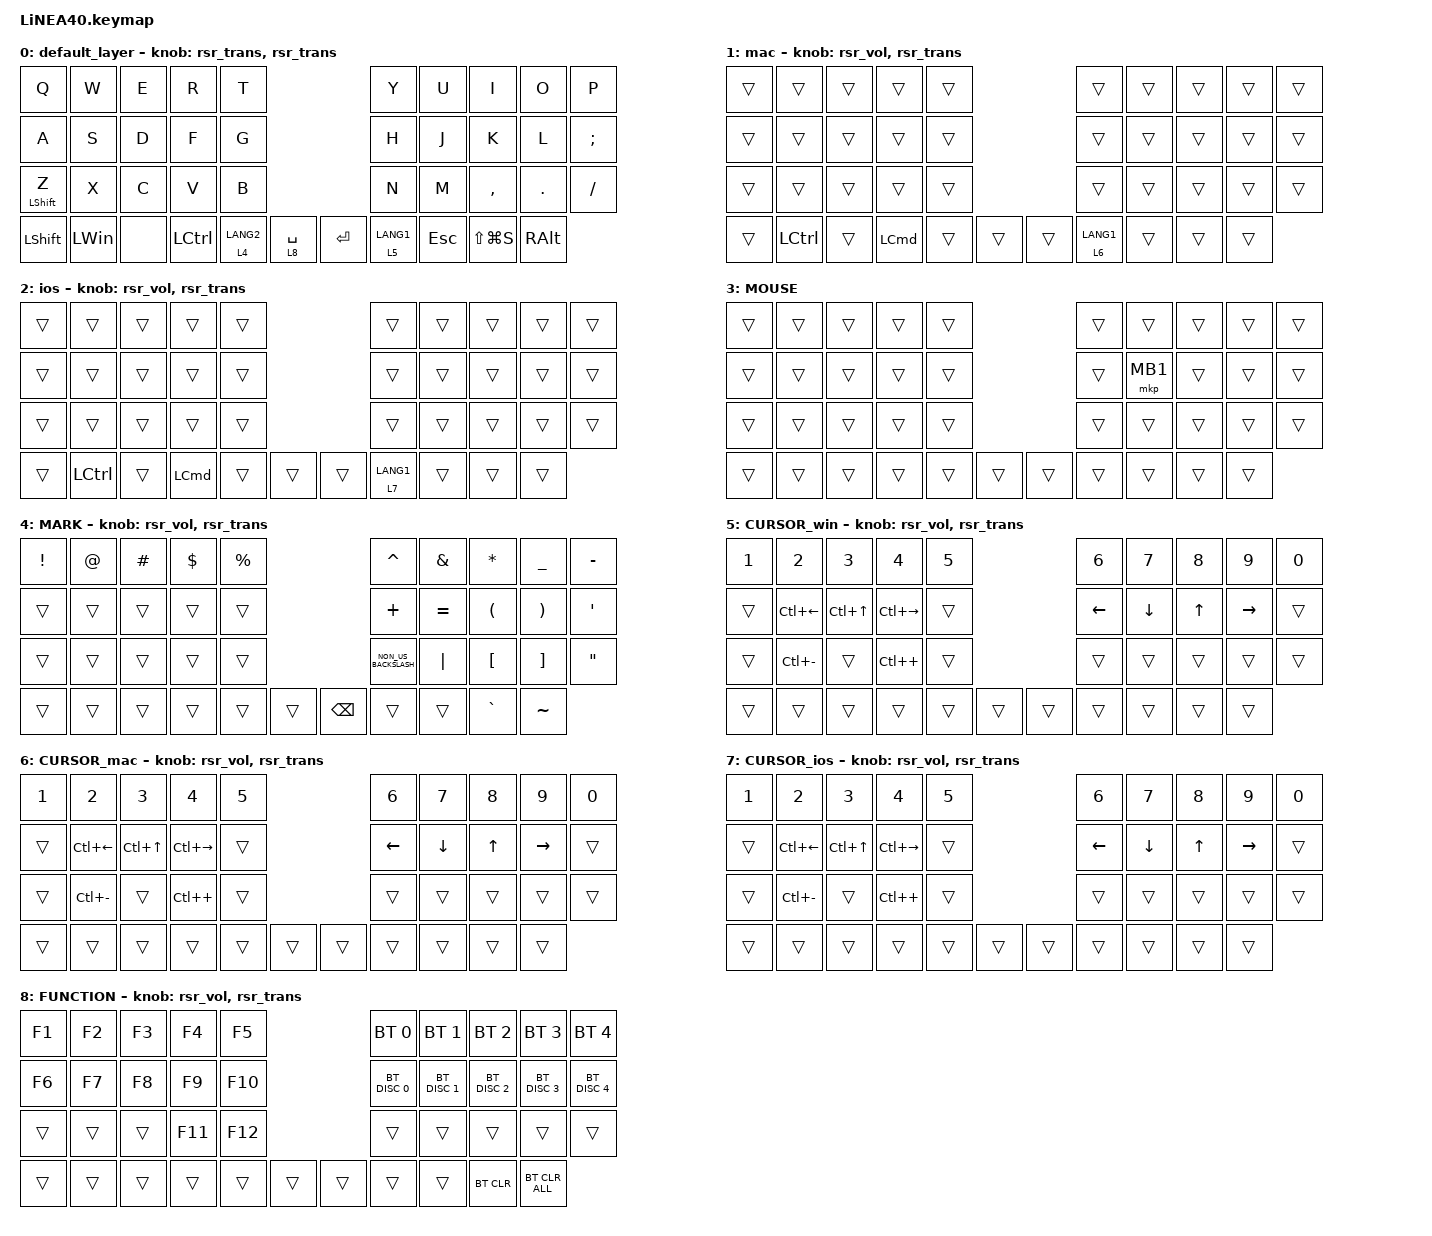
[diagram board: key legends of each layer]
#define ZMK_POINTING_DEFAULT_SCRL_VAL 150

#include <dt-bindings/zmk/input_transform.h>
#include <input/processors.dtsi>
#include <zephyr/dt-bindings/input/input-event-codes.h>
#include <behaviors.dtsi>
#include <dt-bindings/zmk/bt.h>
#include <dt-bindings/zmk/keys.h>
#include <dt-bindings/zmk/pointing.h>
#include <behaviors/runtime-sensor-rotate.dtsi>

#define MOUSE 1
#define MARK 2
#define CURSOR 3
#define FUNCTION 4
#define SCROLL 5
#define WIRELESS 6

//mouse cursol

&mmv {
    delay-ms = <20>;
    trigger-period-ms = <5>;
    time-to-max-speed-ms = <100>;
    acceleration-exponent = <2>;
};

//mouse scroll

&msc {
    delay-ms = <3>;
    trigger-period-ms = <3>;
    time-to-max-speed-ms = <100>;
    acceleration-exponent = <0>;
};

/ {
    input_processors {
        zip_wheel_scaler: zip_wheel_scaler {
            compatible = "zmk,input-processor-scaler";
            #input-processor-cells = <2>;
            type = <INPUT_EV_REL>;
            codes = <INPUT_REL_WHEEL>;
            track-remainders;
        };
    };
};

&msc_input_listener {
    speed_up {
        layers = <FUNCTION>;
        input-processors = <&zip_wheel_scaler 3 1>; //スクロールを3倍速にする
    };
};

&trackball_listener {
    scroller {
        layers = <SCROLL>;
        input-processors =
            <&zip_xy_transform INPUT_TRANSFORM_Y_INVERT>,
            //スクロール方向を逆転,,,,,,,,,,,,,,,
            <&zip_xy_to_scroll_mapper>;
    };
};

/ {
    combos {
        compatible = "zmk,combos";

        tabs {
            bindings = <&kp TAB>;
            key-positions = <0 1>;
        };

        mb1 {
            bindings = <&mkp MB1>;
            key-positions = <17 16>;
        };

        mb2 {
            bindings = <&mkp MB2>;
            key-positions = <18 17>;
        };
    };

    behaviors {
        re_kp: sensor_rotate_kp {
            compatible = "zmk,behavior-sensor-rotate-var";
            #sensor-binding-cells = <2>;
            bindings = <&kp>, <&kp>;
        };

        mouse_scrl: mouse_wheel_scrl {
            compatible = "zmk,behavior-sensor-rotate-var";
            #sensor-binding-cells = <2>;
            bindings = <&msc>, <&msc>;

            tap-ms = <20>;
        };

        // Optionally define default bindings
        rsr_vol: rsr_vol {
            compatible = "zmk,behavior-runtime-sensor-rotate";
            #sensor-binding-cells = <0>;
            tap-ms = <5>;
            cw-binding = <&kp C_VOL_UP>;
            ccw-binding = <&kp C_VOL_DN>;
        };
    };

    keymap {
        compatible = "zmk,keymap";

        default_layer {
            bindings = <
&kp Q             &kp W         &kp E  &kp R      &kp T                                  &kp Y        &kp U  &kp I      &kp O          &kp P
&kp A             &kp S         &kp D  &kp F      &kp G                                  &kp H        &kp J  &kp K      &kp L          &kp SEMICOLON
&mt LEFT_SHIFT Z  &kp X         &kp C  &kp V      &kp B                                  &kp N        &kp M  &kp COMMA  &kp DOT        &kp SLASH
&kp LEFT_SHIFT    &kp LEFT_WIN  &none  &kp LCTRL  &lt 4 LANG2  &lt 8 SPACE    &kp ENTER  &lt 5 LANG1         &kp ESC    &kp LS(LG(S))  &kp RIGHT_ALT
            >;

            sensor-bindings = <&rsr_trans &rsr_trans>;
        };

        mac {
            bindings = <
&trans  &trans     &trans  &trans            &trans                    &trans       &trans  &trans  &trans  &trans
&trans  &trans     &trans  &trans            &trans                    &trans       &trans  &trans  &trans  &trans
&trans  &trans     &trans  &trans            &trans                    &trans       &trans  &trans  &trans  &trans
&trans  &kp LCTRL  &trans  &kp LEFT_COMMAND  &trans  &trans    &trans  &lt 6 LANG1          &trans  &trans  &trans
            >;

            sensor-bindings = <&rsr_vol &rsr_trans>;
        };

        ios {
            bindings = <
&trans  &trans     &trans  &trans            &trans                    &trans       &trans  &trans  &trans  &trans
&trans  &trans     &trans  &trans            &trans                    &trans       &trans  &trans  &trans  &trans
&trans  &trans     &trans  &trans            &trans                    &trans       &trans  &trans  &trans  &trans
&trans  &kp LCTRL  &trans  &kp LEFT_COMMAND  &trans  &trans    &trans  &lt 7 LANG1          &trans  &trans  &trans
            >;

            sensor-bindings = <&rsr_vol &rsr_trans>;
        };

        MOUSE {
            bindings = <
&trans  &trans  &trans  &trans  &trans                    &trans  &trans    &trans  &trans  &trans
&trans  &trans  &trans  &trans  &trans                    &trans  &mkp MB1  &trans  &trans  &trans
&trans  &trans  &trans  &trans  &trans                    &trans  &trans    &trans  &trans  &trans
&trans  &trans  &trans  &trans  &trans  &trans    &trans  &trans            &trans  &trans  &trans
            >;
        };

        MARK {
            bindings = <
&kp EXCLAMATION  &kp AT  &kp HASH  &kp DOLLAR  &kp PERCENT                           &kp CARET             &kp AMPERSAND  &kp ASTERISK          &kp UNDERSCORE         &kp MINUS
&trans           &trans  &trans    &trans      &trans                                &kp PLUS              &kp EQUAL      &kp LEFT_PARENTHESIS  &kp RIGHT_PARENTHESIS  &kp SQT
&trans           &trans  &trans    &trans      &trans                                &kp NON_US_BACKSLASH  &kp PIPE       &kp LEFT_BRACKET      &kp RIGHT_BRACKET      &kp DOUBLE_QUOTES
&trans           &trans  &trans    &trans      &trans       &trans    &kp BACKSPACE  &trans                               &trans                &kp GRAVE              &kp TILDE
            >;

            sensor-bindings = <&rsr_vol &rsr_trans>;
        };

        CURSOR_win {
            bindings = <
&kp NUMBER_1  &kp NUMBER_2        &kp NUMBER_3      &kp NUMBER_4         &kp NUMBER_5                    &kp NUMBER_6    &kp NUMBER_7    &kp NUMBER_8  &kp NUMBER_9     &kp NUMBER_0
&trans        &kp LC(LEFT_ARROW)  &kp LC(UP_ARROW)  &kp LC(RIGHT_ARROW)  &trans                          &kp LEFT_ARROW  &kp DOWN_ARROW  &kp UP_ARROW  &kp RIGHT_ARROW  &trans
&trans        &kp LC(MINUS)       &trans            &kp LC(PLUS)         &trans                          &trans          &trans          &trans        &trans           &trans
&trans        &trans              &trans            &trans               &trans        &trans    &trans  &trans                          &trans        &trans           &trans
            >;

            sensor-bindings = <&rsr_vol &rsr_trans>;
        };

        CURSOR_mac {
            bindings = <
&kp NUMBER_1  &kp NUMBER_2        &kp NUMBER_3      &kp NUMBER_4         &kp NUMBER_5                    &kp NUMBER_6    &kp NUMBER_7    &kp NUMBER_8  &kp NUMBER_9     &kp NUMBER_0
&trans        &kp LC(LEFT_ARROW)  &kp LC(UP_ARROW)  &kp LC(RIGHT_ARROW)  &trans                          &kp LEFT_ARROW  &kp DOWN_ARROW  &kp UP_ARROW  &kp RIGHT_ARROW  &trans
&trans        &kp LC(MINUS)       &trans            &kp LC(PLUS)         &trans                          &trans          &trans          &trans        &trans           &trans
&trans        &trans              &trans            &trans               &trans        &trans    &trans  &trans                          &trans        &trans           &trans
            >;

            sensor-bindings = <&rsr_vol &rsr_trans>;
        };

        CURSOR_ios {
            bindings = <
&kp NUMBER_1  &kp NUMBER_2        &kp NUMBER_3      &kp NUMBER_4         &kp NUMBER_5                    &kp NUMBER_6    &kp NUMBER_7    &kp NUMBER_8  &kp NUMBER_9     &kp NUMBER_0
&trans        &kp LC(LEFT_ARROW)  &kp LC(UP_ARROW)  &kp LC(RIGHT_ARROW)  &trans                          &kp LEFT_ARROW  &kp DOWN_ARROW  &kp UP_ARROW  &kp RIGHT_ARROW  &trans
&trans        &kp LC(MINUS)       &trans            &kp LC(PLUS)         &trans                          &trans          &trans          &trans        &trans           &trans
&trans        &trans              &trans            &trans               &trans        &trans    &trans  &trans                          &trans        &trans           &trans
            >;

            sensor-bindings = <&rsr_vol &rsr_trans>;
        };

        FUNCTION {
            bindings = <
&kp F1  &kp F2  &kp F3  &kp F4   &kp F5                     &bt BT_SEL 0   &bt BT_SEL 1   &bt BT_SEL 2   &bt BT_SEL 3   &bt BT_SEL 4
&kp F6  &kp F7  &kp F8  &kp F9   &kp F10                    &bt BT_DISC 0  &bt BT_DISC 1  &bt BT_DISC 2  &bt BT_DISC 3  &bt BT_DISC 4
&trans  &trans  &trans  &kp F11  &kp F12                    &trans         &trans         &trans         &trans         &trans
&trans  &trans  &trans  &trans   &trans   &trans    &trans  &trans                        &trans         &bt BT_CLR     &bt BT_CLR_ALL
            >;

            sensor-bindings = <&rsr_vol &rsr_trans>;
        };
    };
};
